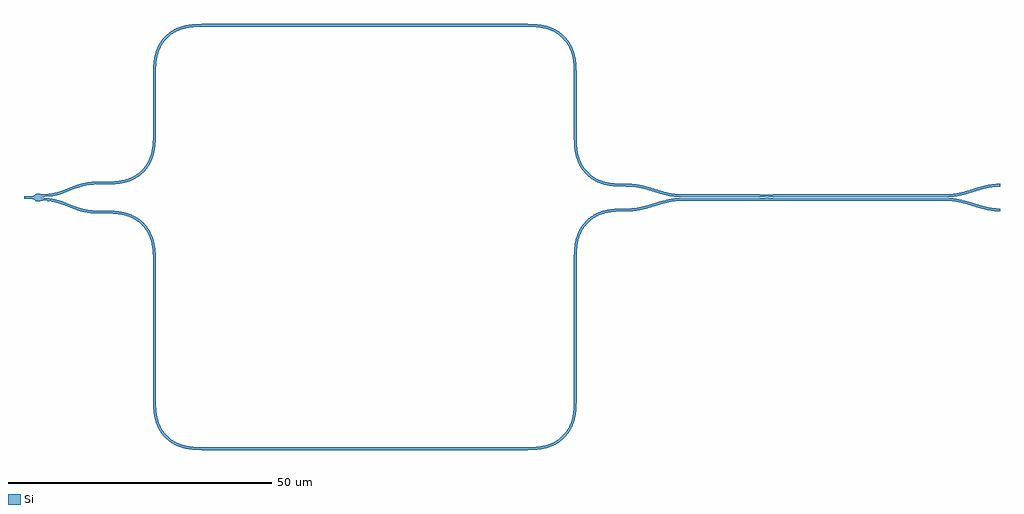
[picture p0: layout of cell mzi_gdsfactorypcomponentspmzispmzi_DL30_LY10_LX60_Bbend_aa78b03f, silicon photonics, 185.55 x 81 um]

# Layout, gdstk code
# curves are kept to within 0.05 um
from math import pi, radians
import gdstk
lib = gdstk.Library(unit=1e-6, precision=1e-09)
def R(c, l, rs):  # rectangles x0, y0, x1, y1
    for r in rs: c.add(gdstk.rectangle(r[:2], r[2:], *l))
def P(c, l, *ps):  # polygons
    for p in ps: c.add(gdstk.Polygon(p, *l))
Si = (1, 0)

ebeam_y_1550_splitter = lib.new_cell('ebeam_y_1550_splitter')
R(ebeam_y_1550_splitter, Si, [(6.5,-3,7.4,-2.5), (-7.4,-0.25,-6,0.25), (6.5,2.5,7.4,3)])
P(ebeam_y_1550_splitter, Si, [(6.458,-3),(6.237,-2.997),(6.237,-2.497),(6.5,-2.5),(6.5,-3)],
  [(5.033,-2.908),(3.59,-2.634),(2.265,-2.21),(2.445,-1.744),(3.731,-2.154),(5.033,-2.404)],
  [(6.233,-2.997),(5.033,-2.908),(5.033,-2.404),(6.237,-2.497)],
  [(2.265,-2.21),(0.055,-1.356),(0.235,-0.89),(2.445,-1.744)],
  [(-0.762,-1.076),(-2.334,-0.724),(-4,-0.6),(-4,-0.1),(-2.381,-0.212),(-0.762,-0.555)],
  [(0.055,-1.356),(-0.762,-1.076),(-0.762,-0.555),(0.235,-0.89)],
  [(6.237,2.497),(6.237,2.997),(6.5,3),(6.5,2.5)],
  [(2.445,1.744),(2.267,2.211),(3.59,2.634),(5.033,2.908),(5.033,2.404),(3.731,2.154)],
  [(5.033,2.404),(5.033,2.908),(6.237,2.997),(6.237,2.497)],
  [(0.235,0.89),(0.055,1.356),(2.265,2.21),(2.445,1.744)],
  [(-4,0.1),(-4,0.6),(-2.334,0.724),(-0.762,1.076),(-0.762,0.555),(-2.381,0.212)],
  [(-0.762,0.555),(-0.762,1.076),(0.055,1.356),(0.235,0.89)],
  [(-5.122,-0.662),(-5.442,-0.374),(-5.808,-0.255),(-6,-0.25),(-6,0.25),(-5.817,0.253),(-5.442,0.374),(-5.122,0.662)],
  [(-4.957,-0.703),(-5.122,-0.662),(-5.122,0.662),(-4.538,0.703),(-4,0.6),(-4,-0.6)])
ebeam_y_1550_splitter.add(gdstk.Label('Ref: Y Zhang, Opt. Express, 21/1, 2013', (-7.5,-1), layer=10, texttype=0))

bend_euler_gdsfactorypco = lib.new_cell('bend_euler_gdsfactorypcomponentspbendspbend_euler_RNone_9af2d482')
P(bend_euler_gdsfactorypco, Si, [(0,-0.25),(0,0.25),(2.881,0.353),(3.952,0.52),(4.99,0.806),(6.431,1.505),(7.575,2.425),(8.495,3.569),(9.194,5.01),(9.48,6.048),(9.647,7.119),(9.75,10),(10.25,10),(10.158,7.205),(9.797,5.254),(9.457,4.312),(9.066,3.545),(8.5,2.715),(7.928,2.072),(7.285,1.5),(6.455,0.934),(5.688,0.543),(4.746,0.203),(2.795,-0.158)])

straight_gdsfactorypcomp = lib.new_cell('straight_gdsfactorypcomponentspwaveguidespstraight_L10__2599927c')
R(straight_gdsfactorypcomp, Si, [(0,-0.25,10,0.25)])

c_straight_gdsfactorypcomp = lib.new_cell('straight_gdsfactorypcomponentspwaveguidespstraight_L25__6175fec5')
R(c_straight_gdsfactorypcomp, Si, [(0,-0.25,25,0.25)])

c_straight_gdsfactorypcomp_ = lib.new_cell('straight_gdsfactorypcomponentspwaveguidespstraight_L60__bd1498f1')
R(c_straight_gdsfactorypcomp_, Si, [(0,-0.25,60,0.25)])

ebeam_bdc_te1550_combine = lib.new_cell('ebeam_bdc_te1550_combiner')
R(ebeam_bdc_te1550_combine, Si, [(-35.45,-2.6,-35.35,-2.1), (35.2,-2.6,35.3,-2.1), (8.65,-0.65,9.2,-0.05), (-25.35,-0.6,7.65,-0.1), (10.2,-0.6,25.2,-0.1), (-25.35,0.1,7.65,0.6), (10.2,0.1,25.2,0.6), (8.65,0.15,9.2,0.55), (-35.45,2.1,-35.35,2.6), (35.2,2.1,35.3,2.6)])
P(ebeam_bdc_te1550_combine, Si, [(-25.35,0.1),(-26.412,0.157),(-27.547,0.332),(-32.858,1.794),(-34.041,2.01),(-35.35,2.1),(-35.35,2.6),(-34.288,2.543),(-33.153,2.368),(-27.842,0.906),(-26.659,0.69),(-25.35,0.6)],
  [(-35.35,-2.6),(-35.35,-2.1),(-34.041,-2.01),(-32.858,-1.794),(-27.547,-0.332),(-26.412,-0.157),(-25.35,-0.1),(-25.35,-0.6),(-26.659,-0.69),(-27.842,-0.906),(-33.153,-2.368),(-34.288,-2.543)],
  [(25.2,0.1),(25.2,0.6),(26.509,0.69),(27.692,0.906),(33.003,2.368),(34.138,2.543),(35.2,2.6),(35.2,2.1),(33.891,2.01),(32.708,1.794),(27.397,0.332),(26.262,0.157)],
  [(35.2,-2.6),(34.138,-2.543),(33.003,-2.368),(27.692,-0.906),(26.509,-0.69),(25.2,-0.6),(25.2,-0.1),(26.262,-0.157),(27.397,-0.332),(32.708,-1.794),(33.891,-2.01),(35.2,-2.1)],
  [(9.2,-0.65),(9.2,-0.05),(10.2,-0.1),(10.2,-0.6)],
  [(10.2,0.1),(9.2,0.15),(9.2,0.55),(10.2,0.6)],
  [(8.65,-0.65),(7.65,-0.6),(7.65,-0.1),(8.65,-0.05)],
  [(7.65,0.1),(7.65,0.6),(8.65,0.55),(8.65,0.15)])
ebeam_bdc_te1550_combine.add(gdstk.Label('50-50% broadband splitter, 1550 nm, TE', (-16.299,0.623), layer=10, texttype=0))

c_straight_gdsfactorypcomp__ = lib.new_cell('straight_gdsfactorypcomponentspwaveguidespstraight_L10p_ebacc2ed')
R(c_straight_gdsfactorypcomp__, Si, [(0,-0.25,10.4,0.25)])

c_straight_gdsfactorypcomp___ = lib.new_cell('straight_gdsfactorypcomponentspwaveguidespstraight_L25p_8ed31647')
R(c_straight_gdsfactorypcomp___, Si, [(0,-0.25,25.4,0.25)])

mzi_gdsfactorypcomponent = lib.new_cell('mzi_gdsfactorypcomponentspmzispmzi_DL30_LY10_LX60_Bbend_aa78b03f')
mzi_gdsfactorypcomponent.add(gdstk.Reference(ebeam_y_1550_splitter, (0,0)))
mzi_gdsfactorypcomponent.add(gdstk.Reference(bend_euler_gdsfactorypco, (7.4,-2.75), x_reflection=True))
mzi_gdsfactorypcomponent.add(gdstk.Reference(bend_euler_gdsfactorypco, (17.4,-37.75), rotation=3*pi/2))
mzi_gdsfactorypcomponent.add(gdstk.Reference(bend_euler_gdsfactorypco, (7.4,2.75)))
mzi_gdsfactorypcomponent.add(gdstk.Reference(bend_euler_gdsfactorypco, (27.4,32.75), rotation=pi))
mzi_gdsfactorypcomponent.add(gdstk.Reference(bend_euler_gdsfactorypco, (97.4,22.75), rotation=pi/2))
mzi_gdsfactorypcomponent.add(gdstk.Reference(bend_euler_gdsfactorypco, (97.4,12.35), rotation=3*pi/2))
mzi_gdsfactorypcomponent.add(gdstk.Reference(bend_euler_gdsfactorypco, (87.4,-47.75)))
mzi_gdsfactorypcomponent.add(gdstk.Reference(bend_euler_gdsfactorypco, (107.4,-2.35), rotation=pi))
mzi_gdsfactorypcomponent.add(gdstk.Reference(straight_gdsfactorypcomp, (17.4,12.75), rotation=pi/2))
mzi_gdsfactorypcomponent.add(gdstk.Reference(c_straight_gdsfactorypcomp, (17.4,-12.75), rotation=3*pi/2))
mzi_gdsfactorypcomponent.add(gdstk.Reference(c_straight_gdsfactorypcomp_, (27.4,32.75)))
mzi_gdsfactorypcomponent.add(gdstk.Reference(c_straight_gdsfactorypcomp_, (27.4,-47.75)))
mzi_gdsfactorypcomponent.add(gdstk.Reference(ebeam_bdc_te1550_combine, (142.7,0), rotation=pi, x_reflection=True))
mzi_gdsfactorypcomponent.add(gdstk.Reference(c_straight_gdsfactorypcomp__, (97.4,12.35), rotation=pi/2))
mzi_gdsfactorypcomponent.add(gdstk.Reference(c_straight_gdsfactorypcomp___, (97.4,-37.75), rotation=pi/2))

lib.write_gds('mzi_gdsfactorypcomponentspmzispmzi_DL30_LY10_LX60_Bbend_aa78b03f.gds')
